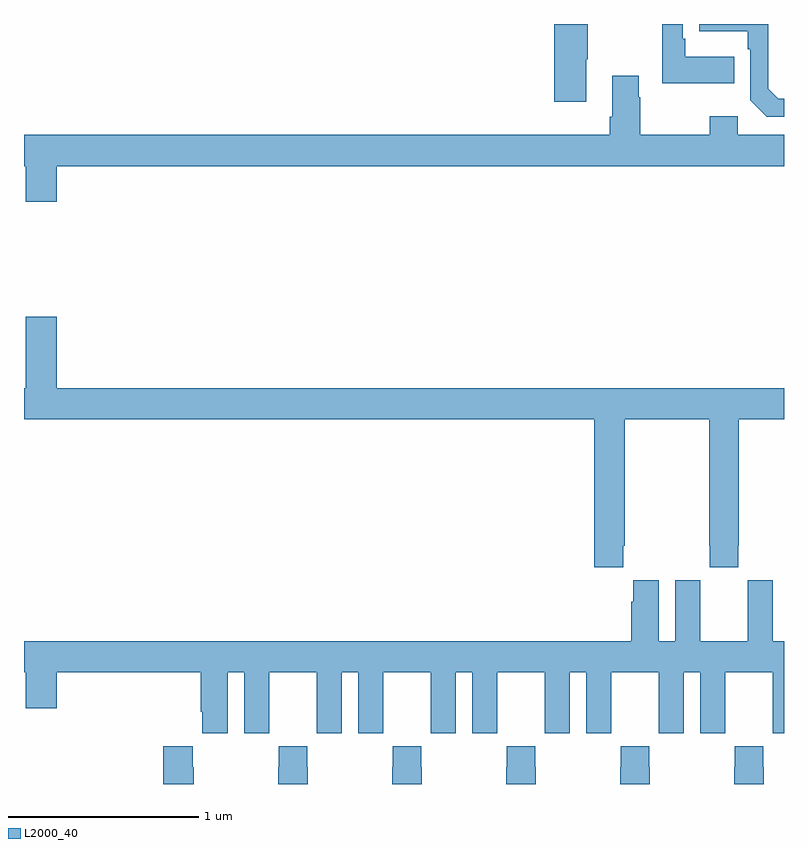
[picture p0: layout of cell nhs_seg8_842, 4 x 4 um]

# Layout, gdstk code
import gdstk
lib = gdstk.Library(unit=1e-6, precision=1e-09)
def P(c, l, *ps):  # polygons
    for p in ps: c.add(gdstk.Polygon(p, *l))
L2000_40 = (2000, 40)

nhs_seg8_842 = lib.new_cell('nhs_seg8_842')
P(nhs_seg8_842, L2000_40, [(167.959,1131.715),(167.967,1131.715),(167.967,1131.9),(167.792,1131.9),(167.792,1131.492),(167.959,1131.492)],
  [(168.737,1131.727),(168.481,1131.727),(168.481,1131.823),(168.468,1131.823),(168.468,1131.9),(168.36,1131.9),(168.36,1131.587),(168.737,1131.587)],
  [(169,1131.507),(168.969,1131.507),(168.918,1131.558),(168.918,1131.9),(168.553,1131.9),(168.553,1131.863),(168.81,1131.863),(168.81,1131.767),(168.822,1131.767),(168.822,1131.498),(168.909,1131.411),(169,1131.411)],
  [(165.172,1131.152),(169,1131.152),(169,1131.316),(168.756,1131.316),(168.756,1131.415),(168.61,1131.415),(168.61,1131.316),(168.243,1131.316),(168.243,1131.515),(168.235,1131.515),(168.235,1131.628),(168.095,1131.628),(168.095,1131.412),(168.083,1131.412),(168.083,1131.316),(165,1131.316),(165,1131.152),(165.008,1131.152),(165.008,1130.964),(165.172,1130.964)],
  [(168.155,1129.153),(168.162,1129.153),(168.162,1129.82),(168.607,1129.82),(168.607,1129.153),(168.609,1129.153),(168.609,1129.041),(168.759,1129.041),(168.759,1129.153),(168.762,1129.153),(168.762,1129.82),(169,1129.82),(169,1129.984),(165.172,1129.984),(165.172,1130.359),(165.008,1130.359),(165.008,1129.984),(165,1129.984),(165,1129.82),(168.002,1129.82),(168.002,1129.041),(168.155,1129.041)],
  [(168.941,1128.28),(168.942,1128.28),(168.942,1128.168),(169,1128.168),(169,1128.652),(168.94,1128.652),(168.94,1128.973),(168.81,1128.973),(168.81,1128.86),(168.809,1128.86),(168.809,1128.652),(168.559,1128.652),(168.559,1128.86),(168.558,1128.86),(168.558,1128.973),(168.428,1128.973),(168.428,1128.652),(168.34,1128.652),(168.34,1128.973),(168.206,1128.973),(168.206,1128.86),(168.197,1128.86),(168.197,1128.652),(165,1128.652),(165,1128.488),(165.008,1128.488),(165.008,1128.3),(165.172,1128.3),(165.172,1128.488),(165.929,1128.488),(165.929,1128.28),(165.938,1128.28),(165.938,1128.168),(166.072,1128.168),(166.072,1128.488),(166.16,1128.488),(166.16,1128.168),(166.29,1128.168),(166.29,1128.28),(166.291,1128.28),(166.291,1128.488),(166.541,1128.488),(166.541,1128.28),(166.542,1128.28),(166.542,1128.168),(166.672,1128.168),(166.672,1128.488),(166.76,1128.488),(166.76,1128.168),(166.89,1128.168),(166.89,1128.28),(166.891,1128.28),(166.891,1128.488),(167.141,1128.488),(167.141,1128.28),(167.142,1128.28),(167.142,1128.168),(167.272,1128.168),(167.272,1128.488),(167.36,1128.488),(167.36,1128.168),(167.49,1128.168),(167.49,1128.28),(167.491,1128.28),(167.491,1128.488),(167.741,1128.488),(167.741,1128.28),(167.742,1128.28),(167.742,1128.168),(167.872,1128.168),(167.872,1128.488),(167.96,1128.488),(167.96,1128.168),(168.09,1128.168),(168.09,1128.28),(168.091,1128.28),(168.091,1128.488),(168.341,1128.488),(168.341,1128.28),(168.342,1128.28),(168.342,1128.168),(168.472,1128.168),(168.472,1128.488),(168.56,1128.488),(168.56,1128.168),(168.69,1128.168),(168.69,1128.28),(168.691,1128.28),(168.691,1128.488),(168.941,1128.488)],
  [(167.094,1127.987),(167.091,1127.987),(167.091,1128.1),(166.941,1128.1),(166.941,1127.987),(166.939,1127.987),(166.939,1127.9),(167.094,1127.9)],
  [(166.494,1127.987),(166.491,1127.987),(166.491,1128.1),(166.341,1128.1),(166.341,1127.987),(166.339,1127.987),(166.339,1127.9),(166.494,1127.9)],
  [(168.894,1127.987),(168.891,1127.987),(168.891,1128.1),(168.741,1128.1),(168.741,1127.987),(168.739,1127.987),(168.739,1127.9),(168.894,1127.9)],
  [(168.294,1127.987),(168.291,1127.987),(168.291,1128.1),(168.141,1128.1),(168.141,1127.987),(168.139,1127.987),(168.139,1127.9),(168.294,1127.9)],
  [(165.894,1127.987),(165.887,1127.987),(165.887,1128.1),(165.734,1128.1),(165.734,1127.9),(165.894,1127.9)],
  [(167.694,1127.987),(167.691,1127.987),(167.691,1128.1),(167.541,1128.1),(167.541,1127.987),(167.539,1127.987),(167.539,1127.9),(167.694,1127.9)])

lib.write_gds('nhs_seg8_842.gds')
